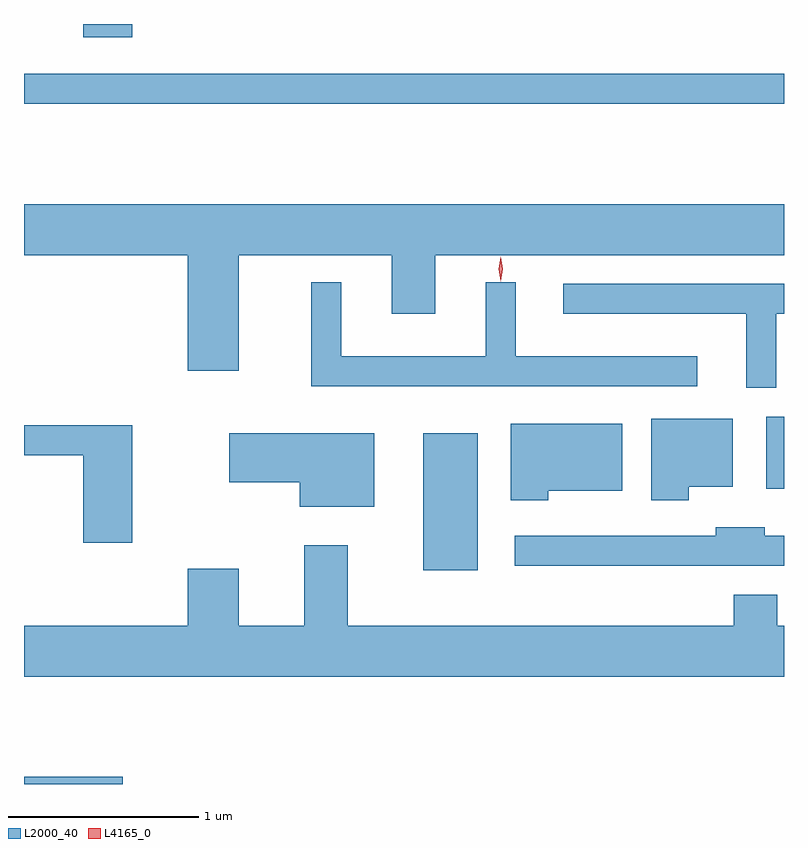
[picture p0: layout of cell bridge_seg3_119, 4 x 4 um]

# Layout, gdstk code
import gdstk
lib = gdstk.Library(unit=1e-6, precision=1e-09)
def R(c, l, rs):  # rectangles x0, y0, x1, y1
    for r in rs: c.add(gdstk.rectangle(r[:2], r[2:], *l))
def P(c, l, *ps):  # polygons
    for p in ps: c.add(gdstk.Polygon(p, *l))
L2000_40 = (2000, 40)
L4165_0 = (4165, 0)

bridge_seg3_119 = lib.new_cell('bridge_seg3_119')
R(bridge_seg3_119, L2000_40, [(1053.375,1196.492,1053.894,1196.529), (1055.476,1197.616,1055.764,1198.339), (1057.281,1198.046,1057.375,1198.424), (1053.375,1200.071,1057.375,1200.229), (1053.686,1200.421,1053.944,1200.492)])
P(bridge_seg3_119, L2000_40, [(1054.504,1199.276),(1055.311,1199.276),(1055.311,1198.966),(1055.539,1198.966),(1055.539,1199.276),(1057.375,1199.276),(1057.375,1199.544),(1053.375,1199.544),(1053.375,1199.276),(1054.236,1199.276),(1054.236,1198.666),(1054.504,1198.666)],
  [(1056.918,1198.744),(1055.964,1198.744),(1055.964,1199.133),(1055.806,1199.133),(1055.806,1198.744),(1055.044,1198.744),(1055.044,1199.133),(1054.886,1199.133),(1054.886,1198.586),(1056.918,1198.586)],
  [(1057.334,1198.966),(1057.375,1198.966),(1057.375,1199.124),(1056.213,1199.124),(1056.213,1198.966),(1057.176,1198.966),(1057.176,1198.578),(1057.334,1198.578)],
  [(1056.874,1198.056),(1057.104,1198.056),(1057.104,1198.414),(1056.676,1198.414),(1056.676,1197.986),(1056.874,1197.986)],
  [(1056.134,1198.036),(1056.524,1198.036),(1056.524,1198.389),(1055.936,1198.389),(1055.936,1197.986),(1056.134,1197.986)],
  [(1053.944,1198.379),(1053.375,1198.379),(1053.375,1198.221),(1053.686,1198.221),(1053.686,1197.761),(1053.944,1197.761)],
  [(1055.219,1198.339),(1054.456,1198.339),(1054.456,1198.081),(1054.826,1198.081),(1054.826,1197.951),(1055.219,1197.951)],
  [(1057.375,1197.799),(1057.274,1197.799),(1057.274,1197.844),(1057.016,1197.844),(1057.016,1197.799),(1055.958,1197.799),(1055.958,1197.641),(1057.375,1197.641)],
  [(1057.111,1197.489),(1057.111,1197.324),(1055.079,1197.324),(1055.079,1197.749),(1054.851,1197.749),(1054.851,1197.324),(1054.504,1197.324),(1054.504,1197.624),(1054.236,1197.624),(1054.236,1197.324),(1053.375,1197.324),(1053.375,1197.056),(1057.375,1197.056),(1057.375,1197.324),(1057.339,1197.324),(1057.339,1197.489)])
P(bridge_seg3_119, L4165_0, [(1055.884,1199.138),(1055.874,1199.202),(1055.884,1199.266),(1055.884,1199.267),(1055.885,1199.266),(1055.894,1199.202),(1055.885,1199.138),(1055.885,1199.138)])

lib.write_gds('bridge_seg3_119.gds')
